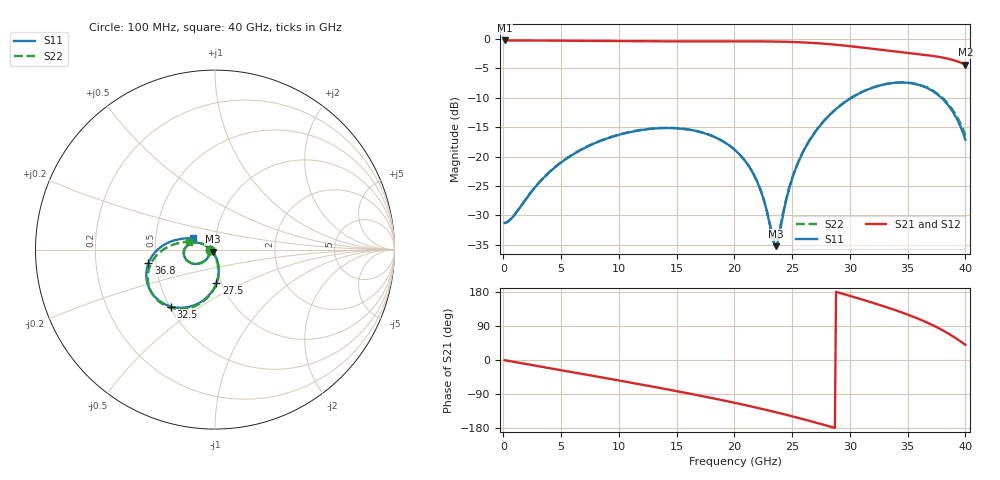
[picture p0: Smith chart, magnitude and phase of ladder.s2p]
! C_s8_nfp: via ladder as kisi uses it (kisi_si::via_pbm, graded grid, junction model), ports at the via
# Hz S RI R 50
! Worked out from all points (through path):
!   400 points, 100 MHz to 40 GHz, reference 50 ohm
!   highest |S21| = -0.24 dB at 100 MHz (marker M1); lowest = -4.4 dB at 40 GHz (marker M2)
!   group delay of S21, straight-line fit = 20.2 ps
!   lowest |S11| = -35.2 dB at 23.6 GHz (marker M3), VSWR 1.04, Z = 48.7 - j1.12 ohm
!   |S11| at or under -10 dB: start of sweep to 30.13 GHz; 37.93 GHz to end of sweep
!   |S22| runs from -34.5 to -7.4 dB; largest |S21 - S12| = 0
!   S11 on the Smith chart (normalised r, x): 100 MHz: 0.95, -0.00; 27.5 GHz: 0.95, -0.37; 32.5 GHz: 0.51, -0.38; 36.8 GHz: 0.45, -0.08; 40 GHz: 0.77, +0.10
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1e8  -0.0272 -0.00152  0.9727 -0.00911  0.9727 -0.00911  -0.0272 -0.00152
3.8e9  -0.0471 -0.0531  0.9097 -0.3385  0.9097 -0.3385  -0.0477 -0.053
6.8e9  -0.0854 -0.0775  0.776 -0.5762  0.776 -0.5762  -0.087 -0.0767
1.02e10  -0.1363 -0.0742  0.5493 -0.7883  0.5493 -0.7883  -0.1383 -0.0722
1.34e10  -0.1694 -0.0407  0.28 -0.9145  0.28 -0.9145  -0.1708 -0.0379
1.72e10  -0.1595 0.0161  -0.0864 -0.9512  -0.0864 -0.9512  -0.1597 0.0181
2.01e10  -0.1056 0.0389  -0.3808 -0.8771  -0.3808 -0.8771  -0.1056 0.0392
2.2e10  -0.0548 0.0252  -0.5667 -0.7693  -0.5667 -0.7693  -0.0553 0.0245
2.27e10  -0.0357 0.0122  -0.6305 -0.7164  -0.6305 -0.7164  -0.0363 0.0112
2.34e10  -0.0177 -0.00553  -0.6904 -0.6562  -0.6904 -0.6562  -0.0185 -0.0067
2.36e10  -0.013 -0.0115  -0.7066 -0.6376  -0.7066 -0.6376  -0.0138 -0.0127
2.5e10  0.0132 -0.0635  -0.8061 -0.4917  -0.8061 -0.4917  0.0124 -0.0648
2.67e10  0.0185 -0.1459  -0.8837 -0.2823  -0.8837 -0.2823  0.0186 -0.1469
2.75e10  0.00734 -0.1877  -0.8998 -0.1754  -0.8998 -0.1754  0.00829 -0.1887
2.99e10  -0.0833 -0.2945  -0.8594 0.1495  -0.8594 0.1495  -0.0779 -0.297
3.25e10  -0.2445 -0.3172  -0.6742 0.455  -0.6742 0.455  -0.234 -0.3265
3.34e10  -0.299 -0.2929  -0.5808 0.5405  -0.5808 0.5405  -0.2875 -0.3059
3.52e10  -0.3739 -0.1963  -0.3505 0.6709  -0.3505 0.6709  -0.3638 -0.2179
3.68e10  -0.371 -0.0762  -0.091 0.7204  -0.091 0.7204  -0.3674 -0.1044
3.85e10  -0.2722 0.0331  0.2303 0.6406  0.2303 0.6406  -0.2811 0.00445
3.93e10  -0.1974 0.0584  0.3713 0.5289  0.3713 0.5289  -0.2129 0.0339
4e10  -0.1239 0.0627  0.4637 0.3884  0.4637 0.3884  -0.1442 0.0451
